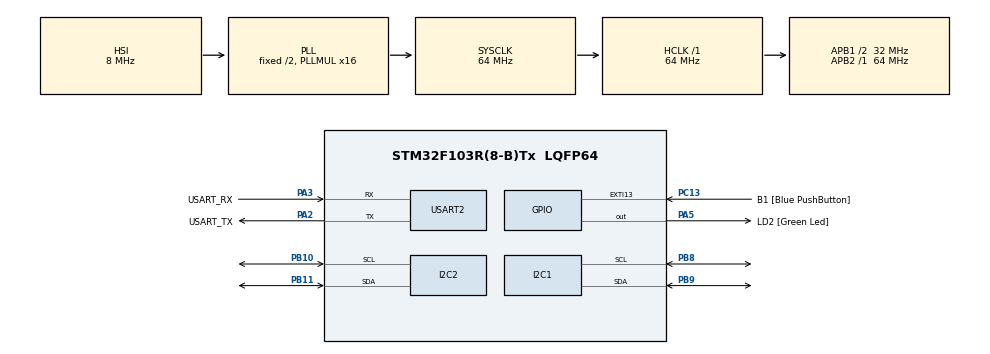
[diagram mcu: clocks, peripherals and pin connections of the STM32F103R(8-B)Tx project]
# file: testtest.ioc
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Mcu.Family=STM32F1
Mcu.Name=STM32F103R(8-B)Tx
Mcu.Package=LQFP64
NVIC.EXTI15_10_IRQn=true\:0\:0\:false\:false\:true\:true\:true\:true
NVIC.PriorityGroup=NVIC_PRIORITYGROUP_4
PA13.GPIO_Label=TMS
PA13.Mode=Serial_Wire
PA13.Signal=SYS_JTMS-SWDIO
PA14.GPIO_Label=TCK
PA14.Mode=Serial_Wire
PA14.Signal=SYS_JTCK-SWCLK
PA2.GPIO_Label=USART_TX
PA2.GPIO_Mode=GPIO_MODE_AF_PP
PA2.GPIO_PuPd=GPIO_NOPULL
PA2.GPIO_Speed=GPIO_SPEED_FREQ_LOW
PA2.Mode=Asynchronous
PA2.Signal=USART2_TX
PA3.GPIO_Label=USART_RX
PA3.GPIO_Mode=GPIO_MODE_AF_PP
PA3.GPIO_PuPd=GPIO_NOPULL
PA3.GPIO_Speed=GPIO_SPEED_FREQ_LOW
PA3.Mode=Asynchronous
PA3.Signal=USART2_RX
PA5.GPIO_Label=LD2 [Green Led]
PA5.GPIO_ModeDefaultOutputPP=GPIO_MODE_OUTPUT_PP
PA5.GPIO_PuPd=GPIO_NOPULL
PA5.GPIO_Speed=GPIO_SPEED_FREQ_LOW
PA5.Signal=GPIO_Output
PB10.Mode=I2C
PB10.Signal=I2C2_SCL
PB11.Mode=I2C
PB11.Signal=I2C2_SDA
PB3.GPIO_Label=SWO
PB3.Signal=SYS_JTDO-TRACESWO
PB8.Mode=I2C
PB8.Signal=I2C1_SCL
PB9.Mode=I2C
PB9.Signal=I2C1_SDA
PC13-TAMPER-RTC.GPIO_Label=B1 [Blue PushButton]
PC13-TAMPER-RTC.GPIO_PuPd=GPIO_NOPULL
PC13-TAMPER-RTC.Signal=GPXTI13
PC14-OSC32_IN.Mode=LSE-External-Oscillator
PC14-OSC32_IN.Signal=RCC_OSC32_IN
PC15-OSC32_OUT.Mode=LSE-External-Oscillator
PC15-OSC32_OUT.Signal=RCC_OSC32_OUT
PD0-OSC_IN.Mode=HSE-External-Clock-Source
PD0-OSC_IN.Signal=RCC_OSC_IN
PD1-OSC_OUT.Mode=HSE-External-Clock-Source
PD1-OSC_OUT.Signal=RCC_OSC_OUT
ProjectManager.HeapSize=0x200
ProjectManager.StackSize=0x400
ProjectManager.TargetToolchain=STM32CubeIDE
RCC.AHBFreq_Value=64000000
RCC.APB1CLKDivider=RCC_HCLK_DIV2
RCC.APB1Freq_Value=32000000
RCC.APB1TimFreq_Value=64000000
RCC.APB2Freq_Value=64000000
RCC.APB2TimFreq_Value=64000000
RCC.HCLKFreq_Value=64000000
RCC.PLLMUL=RCC_PLL_MUL16
RCC.RTCClockSelection=RCC_RTCCLKSOURCE_LSE
RCC.SYSCLKFreq_VALUE=64000000
RCC.SYSCLKSource=RCC_SYSCLKSOURCE_PLLCLK
RCC.USBFreq_Value=64000000
USART2.VirtualMode=VM_ASYNC
board=NUCLEO-F103RB

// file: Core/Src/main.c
/* USER CODE BEGIN Header */
/**
  ******************************************************************************
  * @file           : main.c
  * @brief          : Main program body
  ******************************************************************************
  * @attention
  *
  * Copyright (c) 2023 STMicroelectronics.
  * All rights reserved.
  *
  * This software is licensed under terms that can be found in the LICENSE file
  * in the root directory of this software component.
  * If no LICENSE file comes with this software, it is provided AS-IS.
  *
  ******************************************************************************
  */
/* USER CODE END Header */
#include "main.h"

/* USER CODE BEGIN Includes */

#include "MPU6050.h"

/* USER CODE END Includes */

I2C_HandleTypeDef hi2c1;
I2C_HandleTypeDef hi2c2;

UART_HandleTypeDef huart2;

void SystemClock_Config(void);
static void MX_GPIO_Init(void);
static void MX_USART2_UART_Init(void);
static void MX_I2C1_Init(void);
static void MX_I2C2_Init(void);

/* USER CODE BEGIN 0 */

#define MPU6050_ADDR 0xD0

#define SMPLRT_DIV_REG 0x19
#define GYRO_CONFIG_REG 0x1B
#define ACCEL_CONFIG_REG 0x1C
#define ACCEL_XOUT_H_REG 0x3B
#define TEMP_OUT_H_REG 0x41
#define GYRO_XOUT_H_REG 0x43
#define PWR_MGMT_1_REG 0x6B
#define WHO_AM_I_REG 0x75

int16_t Accel_X_RAW = 0;
int16_t Accel_Y_RAW = 0;
int16_t Accel_Z_RAW = 0;

int16_t Gyro_X_RAW = 0;
int16_t Gyro_Y_RAW = 0;
int16_t Gyro_Z_RAW = 0;

float Ay, Az, Gx, Gy, Gz;
float Ax;

void MPU6050_Init (void) {
	uint8_t check, Data;

	HAL_I2C_Mem_Read(&hi2c1, MPU6050_ADDR, WHO_AM_I_REG, 1, &check, 1, 1000);

	if (check == 104) {
		Data = 0;
		HAL_I2C_Mem_Write (&hi2c1, MPU6050_ADDR, PWR_MGMT_1_REG, 1, &Data, 1, 1000);

		Data = 0x07;
		HAL_I2C_Mem_Write (&hi2c1, MPU6050_ADDR, SMPLRT_DIV_REG, 1, &Data, 1, 1000);

		Data = 0x00;
		HAL_I2C_Mem_Write (&hi2c1, MPU6050_ADDR, ACCEL_CONFIG_REG, 1, &Data, 1, 1000);

		Data = 0x00;
		HAL_I2C_Mem_Write (&hi2c1, MPU6050_ADDR, GYRO_CONFIG_REG, 1, &Data, 1, 1000);
	}
}

void MPU6050_Read_Accel () {
	uint8_t Rec_Data[6];

	HAL_I2C_Mem_Read_DMA (&hi2c1, MPU6050_ADDR, ACCEL_XOUT_H_REG, 1, Rec_Data, 6);

	Accel_X_RAW = (int16_t)(Rec_Data[0] << 8 | Rec_Data [1]);
	Accel_Y_RAW = (int16_t)(Rec_Data[2] << 8 | Rec_Data [3]);
	Accel_Z_RAW = (int16_t)(Rec_Data[4] << 8 | Rec_Data [5]);

	/*** convert the RAW values into acceleration in 'g'
	     we have to divide according to the Full scale value set in FS_SEL
	     I have configured FS_SEL = 0. So I am dividing by 16384.0
	     for more details check ACCEL_CONFIG Register              ****/

	Ax = Accel_X_RAW/16384.0;  // get the float g
	Ay = Accel_Y_RAW/16384.0;
	Az = Accel_Z_RAW/16384.0;
}

void MPU6050_Read_Gyro () {

	uint8_t Rec_Data[6];
	// Read 6 BYTES of data starting from GYRO_XOUT_H register

	HAL_I2C_Mem_Read (&hi2c1, MPU6050_ADDR, GYRO_XOUT_H_REG, 1, Rec_Data, 6, 1000);

	Gyro_X_RAW = (int16_t)(Rec_Data[0] << 8 | Rec_Data [1]);
	Gyro_Y_RAW = (int16_t)(Rec_Data[2] << 8 | Rec_Data [3]);
	Gyro_Z_RAW = (int16_t)(Rec_Data[4] << 8 | Rec_Data [5]);

	/*** convert the RAW values into dps (°/s)
	     we have to divide according to the Full scale value set in FS_SEL
	     I have configured FS_SEL = 0. So I am dividing by 131.0
	     for more details check GYRO_CONFIG Register              ****/

	Gx = Gyro_X_RAW/131.0;
	Gy = Gyro_Y_RAW/131.0;
	Gz = Gyro_Z_RAW/131.0;
}

/* USER CODE END 0 */

int main(void)
{
  /* USER CODE BEGIN 1 */

//	HAL_UART_Transmit(&huart2, (uint8_t*) "hello world\r", 13, 1000);

  /* USER CODE END 1 */

  /* MCU Configuration--------------------------------------------------------*/

  /* Reset of all peripherals, Initializes the Flash interface and the Systick. */
  HAL_Init();

  /* Configure the system clock */
  SystemClock_Config();

  /* Initialize all configured peripherals */
  MX_GPIO_Init();
  MX_USART2_UART_Init();
  MX_I2C1_Init();
  MX_I2C2_Init();
  /* USER CODE BEGIN 2 */

  MPU6050_Init();

  /* USER CODE END 2 */

  /* Infinite loop */
  while (1)
  {

    /* USER CODE BEGIN 3 */

	MPU6050_Read_Accel();
	MPU6050_Read_Gyro();

	char str[20] = {0};
	sprintf (str, "%f\n\r", Gx);
	HAL_UART_Transmit(&huart2, str, 13, 1000);
	sprintf (str, "%f\n\r", Gy);
	HAL_UART_Transmit(&huart2, str, 13, 1000);
	sprintf (str, "%f\n\r", Gz);
	HAL_UART_Transmit(&huart2, str, 13, 1000);

	HAL_GPIO_TogglePin(GPIOC, GPIO_PIN_9);
	HAL_Delay(1000);

  }
  /* USER CODE END 3 */
}

void SystemClock_Config(void)
{
  RCC_OscInitTypeDef RCC_OscInitStruct = {0};
  RCC_ClkInitTypeDef RCC_ClkInitStruct = {0};

  /** Initializes the RCC Oscillators according to the specified parameters
  * in the RCC_OscInitTypeDef structure.
  */
  RCC_OscInitStruct.OscillatorType = RCC_OSCILLATORTYPE_HSI;
  RCC_OscInitStruct.HSIState = RCC_HSI_ON;
  RCC_OscInitStruct.HSICalibrationValue = RCC_HSICALIBRATION_DEFAULT;
  RCC_OscInitStruct.PLL.PLLState = RCC_PLL_ON;
  RCC_OscInitStruct.PLL.PLLSource = RCC_PLLSOURCE_HSI_DIV2;
  RCC_OscInitStruct.PLL.PLLMUL = RCC_PLL_MUL16;
  if (HAL_RCC_OscConfig(&RCC_OscInitStruct) != HAL_OK)
  {
    Error_Handler();
  }

  /** Initializes the CPU, AHB and APB buses clocks
  */
  RCC_ClkInitStruct.ClockType = RCC_CLOCKTYPE_HCLK|RCC_CLOCKTYPE_SYSCLK
                              |RCC_CLOCKTYPE_PCLK1|RCC_CLOCKTYPE_PCLK2;
  RCC_ClkInitStruct.SYSCLKSource = RCC_SYSCLKSOURCE_PLLCLK;
  RCC_ClkInitStruct.AHBCLKDivider = RCC_SYSCLK_DIV1;
  RCC_ClkInitStruct.APB1CLKDivider = RCC_HCLK_DIV2;
  RCC_ClkInitStruct.APB2CLKDivider = RCC_HCLK_DIV1;

  if (HAL_RCC_ClockConfig(&RCC_ClkInitStruct, FLASH_LATENCY_2) != HAL_OK)
  {
    Error_Handler();
  }
}

static void MX_I2C1_Init(void)
{

  hi2c1.Instance = I2C1;
  hi2c1.Init.ClockSpeed = 100000;
  hi2c1.Init.DutyCycle = I2C_DUTYCYCLE_2;
  hi2c1.Init.OwnAddress1 = 0;
  hi2c1.Init.AddressingMode = I2C_ADDRESSINGMODE_7BIT;
  hi2c1.Init.DualAddressMode = I2C_DUALADDRESS_DISABLE;
  hi2c1.Init.OwnAddress2 = 0;
  hi2c1.Init.GeneralCallMode = I2C_GENERALCALL_DISABLE;
  hi2c1.Init.NoStretchMode = I2C_NOSTRETCH_DISABLE;
  if (HAL_I2C_Init(&hi2c1) != HAL_OK)
  {
    Error_Handler();
  }

}

static void MX_I2C2_Init(void)
{

  hi2c2.Instance = I2C2;
  hi2c2.Init.ClockSpeed = 100000;
  hi2c2.Init.DutyCycle = I2C_DUTYCYCLE_2;
  hi2c2.Init.OwnAddress1 = 0;
  hi2c2.Init.AddressingMode = I2C_ADDRESSINGMODE_7BIT;
  hi2c2.Init.DualAddressMode = I2C_DUALADDRESS_DISABLE;
  hi2c2.Init.OwnAddress2 = 0;
  hi2c2.Init.GeneralCallMode = I2C_GENERALCALL_DISABLE;
  hi2c2.Init.NoStretchMode = I2C_NOSTRETCH_DISABLE;
  if (HAL_I2C_Init(&hi2c2) != HAL_OK)
  {
    Error_Handler();
  }

}

static void MX_USART2_UART_Init(void)
{

  huart2.Instance = USART2;
  huart2.Init.BaudRate = 115200;
  huart2.Init.WordLength = UART_WORDLENGTH_8B;
  huart2.Init.StopBits = UART_STOPBITS_1;
  huart2.Init.Parity = UART_PARITY_NONE;
  huart2.Init.Mode = UART_MODE_TX_RX;
  huart2.Init.HwFlowCtl = UART_HWCONTROL_NONE;
  huart2.Init.OverSampling = UART_OVERSAMPLING_16;
  if (HAL_UART_Init(&huart2) != HAL_OK)
  {
    Error_Handler();
  }

}

static void MX_GPIO_Init(void)
{
  GPIO_InitTypeDef GPIO_InitStruct = {0};

  /* GPIO Ports Clock Enable */
  __HAL_RCC_GPIOC_CLK_ENABLE();
  __HAL_RCC_GPIOD_CLK_ENABLE();
  __HAL_RCC_GPIOA_CLK_ENABLE();
  __HAL_RCC_GPIOB_CLK_ENABLE();

  /*Configure GPIO pin Output Level */
  HAL_GPIO_WritePin(LD2_GPIO_Port, LD2_Pin, GPIO_PIN_RESET);

  /*Configure GPIO pin : B1_Pin */
  GPIO_InitStruct.Pin = B1_Pin;
  GPIO_InitStruct.Mode = GPIO_MODE_IT_RISING;
  GPIO_InitStruct.Pull = GPIO_NOPULL;
  HAL_GPIO_Init(B1_GPIO_Port, &GPIO_InitStruct);

  /*Configure GPIO pin : LD2_Pin */
  GPIO_InitStruct.Pin = LD2_Pin;
  GPIO_InitStruct.Mode = GPIO_MODE_OUTPUT_PP;
  GPIO_InitStruct.Pull = GPIO_NOPULL;
  GPIO_InitStruct.Speed = GPIO_SPEED_FREQ_LOW;
  HAL_GPIO_Init(LD2_GPIO_Port, &GPIO_InitStruct);

  /* EXTI interrupt init*/
  HAL_NVIC_SetPriority(EXTI15_10_IRQn, 0, 0);
  HAL_NVIC_EnableIRQ(EXTI15_10_IRQn);

}

void Error_Handler(void)
{
  __disable_irq();
  while (1)
  {
  }
}
